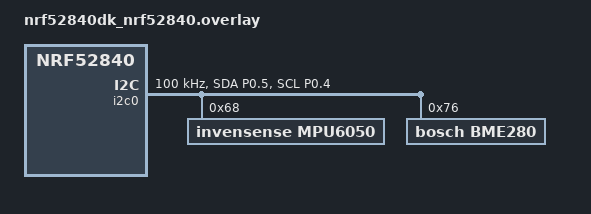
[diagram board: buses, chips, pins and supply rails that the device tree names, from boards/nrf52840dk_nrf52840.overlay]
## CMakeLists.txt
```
cmake_minimum_required(VERSION 3.20.0)
find_package(Zephyr REQUIRED HINTS $ENV{ZEPHYR_BASE})
project(sensor_wire)
target_sources(app PRIVATE src/main.c)
zephyr_compile_options(-Wno-double-promotion)
```

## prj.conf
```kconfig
CONFIG_I2C=y
CONFIG_SENSOR=y
CONFIG_MPU6050=y
CONFIG_BME280=y
CONFIG_ZTEST=y
CONFIG_FPU=y
CONFIG_I2C_LOG_LEVEL_DBG=y
CONFIG_LOG=y
CONFIG_SENSOR_LOG_LEVEL_DBG=y
CONFIG_PM_DEVICE_RUNTIME=n
CONFIG_PM_DEVICE=y
CONFIG_I2C_NRFX_TRANSFER_TIMEOUT=2000
```

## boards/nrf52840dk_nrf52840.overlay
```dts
&i2c0 {
    compatible = "nordic,nrf-twim";
    /delete-property/ zephyr,pm-device-runtime-auto;
    status = "okay";
    pinctrl-0 = <&i2c0_default>;
    pinctrl-1 = <&i2c0_sleep>;
    pinctrl-names = "default", "sleep";
    clock-frequency = <I2C_BITRATE_STANDARD>;

    mpu6050: mpu6050@68 {
        compatible = "invensense,mpu6050";
        reg = <0x68>;
        status = "okay";
        accel-fs = <2>;
        gyro-fs = <250>;
        smplrt-div = <0>;
    };

    bme280: bme280@76 {
        compatible = "bosch,bme280";
        reg = <0x76>;
        status = "okay";
    };
};

&pinctrl {
    i2c0_default: i2c0_default {
        group1 {
            psels = <NRF_PSEL(TWIM_SDA, 0, 5)>,
                    <NRF_PSEL(TWIM_SCL, 0, 4)>;
            bias-pull-up;
        };
    };
    i2c0_sleep: i2c0_sleep {
        group1 {
            psels = <NRF_PSEL(TWIM_SDA, 0, 5)>,
                    <NRF_PSEL(TWIM_SCL, 0, 4)>;
            low-power-enable;
        };
    };
};
```

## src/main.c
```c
#include <zephyr/ztest.h>
#include <zephyr/pm/device.h>
#include <zephyr/drivers/sensor.h>
#include <zephyr/drivers/i2c.h>
#include <zephyr/irq.h>
#include <math.h>
#include <nrfx_twim.h>

/* Use the node labels defined in your bit-bang overlay */
static const struct device *mpu = DEVICE_DT_GET(DT_NODELABEL(mpu6050));
static const struct device *bme = DEVICE_DT_GET(DT_NODELABEL(bme280));
static const struct device *i2c_dev = DEVICE_DT_GET(DT_NODELABEL(i2c0));
// static const struct device *i2c_dev = DEVICE_DT_GET(DT_NODELABEL(i2c1));

// static void raw_twim_probe(void)
// {
//     nrfx_twim_t twim = NRFX_TWIM_INSTANCE(0);
//     nrfx_twim_config_t config = {
//         .scl_pin    = 4,
//         .sda_pin    = 5,
//         .frequency  = NRF_TWIM_FREQ_100K,
//         .interrupt_priority = NRFX_TWIM_DEFAULT_CONFIG_IRQ_PRIORITY,
//         .hold_bus_uninit    = false,
//     };

//     uint8_t reg = 0x75;
//     uint8_t val = 0xFF;

//     nrfx_twim_xfer_desc_t xfer = {
//         .type           = NRFX_TWIM_XFER_TXRX,
//         .address        = 0x68,
//         .p_primary_buf  = &reg,
//         .primary_length = 1,
//         .p_secondary_buf  = &val,
//         .secondary_length = 1,
//     };

//     nrfx_err_t err = nrfx_twim_init(&twim, &config, NULL, NULL);
//     printk("twim init: %d\n", err);

//     nrfx_twim_enable(&twim);

//     err = nrfx_twim_xfer(&twim, &xfer, 0);
//     /* blocking — poll for completion */
//     k_msleep(10);

//     printk("raw TXRX rc=%d val=0x%02x (expect 0x68)\n", err, val);

//     nrfx_twim_disable(&twim);
//     nrfx_twim_uninit(&twim);
// }

static void raw_i2c_probe(void)
{
    uint8_t reg = 0x75;
    uint8_t val = 0xFF;
    int rc;

    /* Force enable the TWI1 IRQ at NVIC level */
    irq_enable(4);
    printk("irq 4 enabled\n");

    struct i2c_msg msgs[2] = {
        {
            .buf = &reg,
            .len = 1,
            .flags = I2C_MSG_WRITE,  /* no STOP, no RESTART */
        },
        {
            .buf = &val,
            .len = 1,
            .flags = I2C_MSG_READ | I2C_MSG_STOP,  /* no RESTART */
        },
    };

    printk("i2c0 ready: %d\n", device_is_ready(i2c_dev));
    printk("twi irq: %d\n", DT_IRQN(DT_NODELABEL(i2c0)));
    printk("twi irq: %d\n", DT_IRQN(DT_NODELABEL(i2c1)));

    rc = i2c_transfer(i2c_dev, msgs, 2, 0x68);
    printk("manual transfer rc=%d val=0x%02x (expect 0x68)\n", rc, val);

    printk("=== RAW I2C PROBE ===\n");

    val = 0xFF;
    rc = i2c_reg_read_byte(i2c_dev, 0x68, 0x75, &val);
    printk("MPU6050 WHO_AM_I: rc=%d val=0x%02x (expect 0x68)\n", rc, val);

    val = 0xFF;
    rc = i2c_reg_read_byte(i2c_dev, 0x76, 0xD0, &val);
    printk("BME280  chip_id:  rc=%d val=0x%02x (expect 0x60)\n", rc, val);

    printk("=== END PROBE ===\n");
}

static void *sensor_suite_setup(void)
{
    // raw_twim_probe();
    raw_i2c_probe();  
    pm_device_action_run(i2c_dev, PM_DEVICE_ACTION_RESUME);
    return NULL;
}

/* * Wiring Reference (confirmed for bit-bang on P0.28/P0.29):
 * IMU (GY-521):
 * 1. vcc -> VDD, 2. gnd -> GND, 3. scl -> P0.29, 4. sda -> P0.28, 7. ad0 -> GND
 * * Baro (BME280):
 * 1. vin -> VDD, 3. gnd -> GND, 4. sck -> P0.29, 5. sdo -> GND, 6. sdi -> P0.28, 7. cs -> VDD
 */

ZTEST_SUITE(sensor_wire, NULL, sensor_suite_setup, NULL, NULL, NULL);

/* --- Readiness Tests --- */

ZTEST(sensor_wire, test_mpu6050_ready)
{
    zassert_true(device_is_ready(mpu),
        "Bit-bang MPU6050 not ready — Check wiring SDA(P0.28) SCL(P0.29)");
}

ZTEST(sensor_wire, test_bme280_ready)
{
    zassert_true(device_is_ready(bme),
        "Bit-bang BME280 not ready — Check wiring SDA(P0.28) SCL(P0.29) and CS -> VDD");
}

/* --- Fetch Tests --- */

ZTEST(sensor_wire, test_mpu6050_fetch)
{
    int rc = sensor_sample_fetch(mpu);
    zassert_ok(rc, "MPU6050 fetch failed (%d)", rc);
}

ZTEST(sensor_wire, test_bme280_fetch)
{
    int rc = sensor_sample_fetch(bme);
    zassert_ok(rc, "BME280 fetch failed (%d)", rc);
}

/* --- Range & Plausibility Tests --- */

ZTEST(sensor_wire, test_mpu6050_accel_range)
{
    struct sensor_value ax, ay, az;
    zassert_ok(sensor_sample_fetch(mpu), "fetch failed");
    zassert_ok(sensor_channel_get(mpu, SENSOR_CHAN_ACCEL_X, &ax), "get X failed");
    zassert_ok(sensor_channel_get(mpu, SENSOR_CHAN_ACCEL_Y, &ay), "get Y failed");
    zassert_ok(sensor_channel_get(mpu, SENSOR_CHAN_ACCEL_Z, &az), "get Z failed");

    float x = sensor_value_to_float(&ax);
    float y = sensor_value_to_float(&ay);
    float z = sensor_value_to_float(&az);
    float mag = sqrtf(x*x + y*y + z*z);

    /* Gravity check: 0.5g to 2.0g (4.9 to 19.6 m/s^2) */
    zassert_true(mag > 4.9f && mag < 19.6f,
        "MPU6050 accel magnitude %.2f m/s² out of range", (double)mag);
}

ZTEST(sensor_wire, test_bme280_pressure_range)
{
    struct sensor_value press;
    zassert_ok(sensor_sample_fetch(bme), "fetch failed");
    zassert_ok(sensor_channel_get(bme, SENSOR_CHAN_PRESS, &press), "get pressure failed");

    /* kPa to hPa conversion */
    float hpa = sensor_value_to_float(&press) * 10.0f;
    zassert_true(hpa > 700.0f && hpa < 1100.0f,
        "BME280 pressure %.1f hPa out of range", (double)hpa);
}

ZTEST(sensor_wire, test_bme280_temperature_range)
{
    struct sensor_value temp;
    zassert_ok(sensor_sample_fetch(bme), "fetch failed");
    zassert_ok(sensor_channel_get(bme, SENSOR_CHAN_AMBIENT_TEMP, &temp), "get temp failed");

    float c = sensor_value_to_float(&temp);
    zassert_true(c > -10.0f && c < 85.0f,
        "BME280 temperature %.1f°C out of range", (double)c);
}

/* --- Stability Tests --- */

ZTEST(sensor_wire, test_mpu6050_read_stability)
{
    for (int i = 0; i < 10; i++) {
        int rc = sensor_sample_fetch(mpu);
        zassert_ok(rc, "MPU6050 read %d/10 failed (%d)", i+1, rc);
        k_msleep(60);
    }
}

ZTEST(sensor_wire, test_bme280_read_stability)
{
    for (int i = 0; i < 10; i++) {
        int rc = sensor_sample_fetch(bme);
        zassert_ok(rc, "BME280 read %d/10 failed (%d)", i+1, rc);
        k_msleep(60);
    }
}
```
